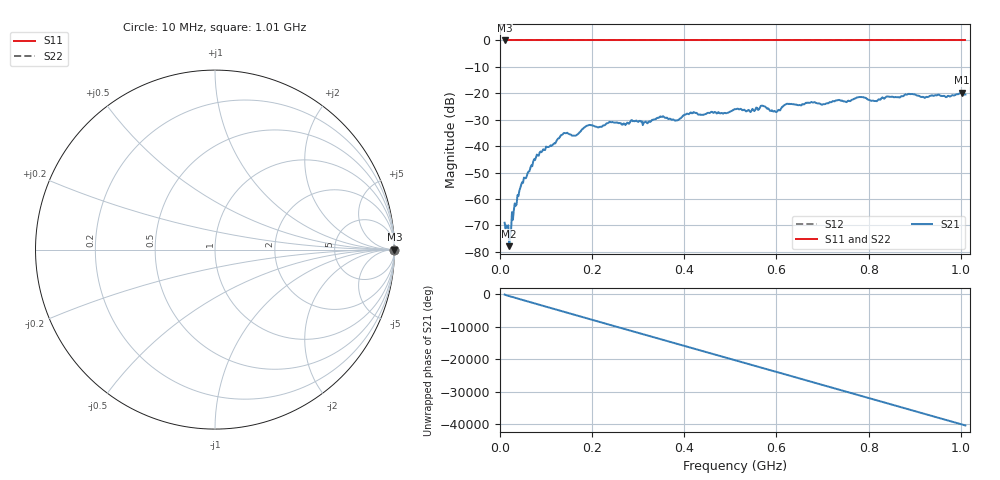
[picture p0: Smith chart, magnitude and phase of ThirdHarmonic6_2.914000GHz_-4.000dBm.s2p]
! 8/17/2025 8:05:18 AM
! C:\ANRITSUVNA\TEMP\TEMP.S2P
! CHANNEL.1
! TR.MEASUREMENT
! RAW.DATA
! RF.CORRECTION.OFF
! AVERAGING.OFF
! IF.BANDWIDTH: 5KHZ
! SWEEPTYPE:  FREQ.SWEEP(Linear)
! Reference Plane Port Info
! PORT:  PORT1  PORT2
! DISTANCE:  0  m  0  m
! TIME:  0  s  0  s
! PHASE.OFFSET:  0  deg.  0  deg.
! LOSS:  0  dB  0  dB
! REF.LOSS:  0  dB  0  dB
! REF.FREQ:  0  Hz  0  Hz
! Power Info
! POWER:  -20  dBm  -20  dBm
! EFF.POWER:  -20  dBm  -20  dBm
! SOURCE.ATTEN:  0  dB  0  dB
! TEST.ATTEN:  0  dB  0  dB
# GHZ S RI R 50.0
! FREQ.GHZ  S11RE  S11IM  S21RE  S21IM  S12RE  S12IM  S22RE  S22IM
!; PortSelection: Port_12
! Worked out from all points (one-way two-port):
!   501 points, 10 MHz to 1.01 GHz, reference 50 ohm
!   highest |S21| = -19.80 dB at 1.002 GHz (marker M1); lowest = -77.9 dB at 20 MHz (marker M2)
!   lowest |S11| = 0.0 dB at 10 MHz (marker M3)
!   |S11| at or under -10 dB: nowhere
!   |S22| runs from 0.0 to 0.0 dB; largest |S21 - S12| = 1.1
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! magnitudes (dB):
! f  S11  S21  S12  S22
! 10 MHz  0.0  -69.0  0.0  0.0
! 20 MHz  0.0  -77.9  0.0  0.0
! 24 MHz  0.0  -72.1  0.0  0.0
! 30 MHz  0.0  -64.3  0.0  0.0
! 42 MHz  0.0  -56.9  0.0  0.0
! 76 MHz  0.0  -45.3  0.0  0.0
! 136 MHz  0.0  -35.6  0.0  0.0
! 162 MHz  0.0  -36.1  0.0  0.0
! 178 MHz  0.0  -33.7  0.0  0.0
! 192 MHz  0.0  -32.1  0.0  0.0
! 344 MHz  0.0  -29.3  0.0  0.0
! 384 MHz  0.0  -30.3  0.0  0.0
! 416 MHz  0.0  -27.6  0.0  0.0
! 510 MHz  0.0  -26.0  0.0  0.0
! 548 MHz  0.0  -25.9  0.0  0.0
! 570 MHz  0.0  -24.7  0.0  0.0
! 598 MHz  0.0  -27.0  0.0  0.0
! 624 MHz  0.0  -24.0  0.0  0.0
! 678 MHz  0.0  -23.4  0.0  0.0
! 844 MHz  0.0  -21.3  0.0  0.0
! 1.002 GHz  0.0  -19.8  0.0  0.0
! 1.01 GHz  0.0  -20.5  0.0  0.0
